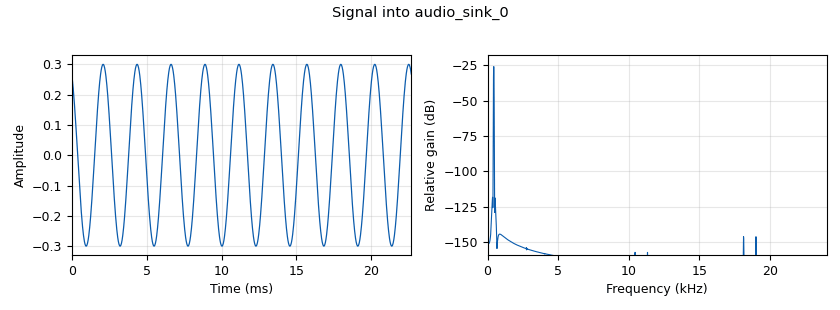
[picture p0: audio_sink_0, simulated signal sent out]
options:
  parameters:
    generate_options: qt_gui
    id: audio_test
    output_language: python
    title: Not titled yet
  states: {}

blocks:
- name: samp_rate
  id: variable
  parameters:
    value: '32000'
  states: {}
- name: analog_sig_source_x_0
  id: analog_sig_source_x
  parameters:
    amp: '0.3'
    freq: '440'
    offset: '0'
    phase: '0'
    samp_rate: int(48e3)
    type: float
    waveform: analog.GR_SIN_WAVE
  states: {}
- name: audio_sink_0
  id: audio_sink
  parameters:
    device_name: hw:0,2
    samp_rate: int(48e3)
  states: {}
- name: blocks_throttle2_0
  id: blocks_throttle2
  parameters:
    samples_per_second: int(48e3)
    type: float
  states: {}

connections:
- [analog_sig_source_x_0, '0', blocks_throttle2_0, '0']
- [blocks_throttle2_0, '0', audio_sink_0, '0']

metadata:
  file_format: 1
  grc_version: 3.10.12.0
